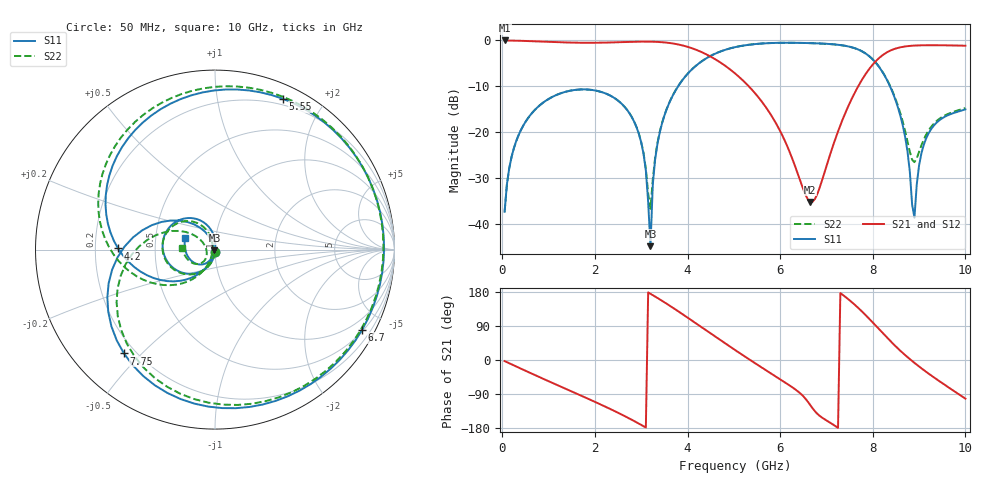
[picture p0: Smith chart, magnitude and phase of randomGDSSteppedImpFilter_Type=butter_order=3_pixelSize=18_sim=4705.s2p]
! freq	dB(S11)	phase(S11)	dB(S12)	phase(S12)
!  dB(S21)	phase(S21)	dB(S22)	phase(S22)
!S-par simulation data
#  GHz  S  DB  R 50
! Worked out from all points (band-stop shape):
!   200 points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, 50 MHz to 10 GHz, reference 50 ohm
!   highest |S21| = 0.00 dB at 50 MHz (marker M1); lowest = -35.1 dB at 6.65 GHz (marker M2)
!   |S21| within 3 dB of the highest: start of sweep to 4.402 GHz; 8.241 GHz to end of sweep
!   lowest |S11| = -44.7 dB at 3.2 GHz (marker M3), VSWR 1.01, Z = 49.7 - j0.493 ohm
!   |S11| at or under -10 dB: start of sweep to 3.795 GHz; 8.373 GHz to end of sweep
!   |S22| runs from -37.3 to -0.5 dB; largest |S21 - S12| = 0
!   S11 on the Smith chart (normalised r, x): 50 MHz: 1.00, -0.03; 4.2 GHz: 0.30, +0.01; 5.55 GHz: 0.14, +1.54; 6.7 GHz: 0.55, -3.85; 7.75 GHz: 0.16, -0.44; 10 GHz: 0.71, +0.09
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0.05  -37.26 -92.7  -0.00 -2.9  -0.00 -2.9  -37.26 -92.6
0.2  -25.33 -101.8  -0.03 -11.4  -0.03 -11.4  -25.33 -101.4
0.5  -17.72 -119.3  -0.11 -28.4  -0.11 -28.4  -17.72 -118.4
1.75  -10.64 170.9  -0.51 -96.7  -0.51 -96.7  -10.64 174.7
2.85  -17.72 105.0  -0.29 -161.2  -0.29 -161.2  -17.70 115.2
3.1  -28.30 87.8  -0.26 -178.1  -0.26 -178.1  -27.91 112.3
3.2  -44.74 -121.2  -0.27 174.8  -0.27 174.8  -36.60 -164.4
3.25  -31.33 -103.2  -0.28 171.1  -0.28 171.1  -30.21 -124.2
3.4  -20.00 -114.5  -0.35 160.0  -0.35 160.0  -19.87 -116.1
4.2  -5.35 179.3  -2.09 95.1  -2.09 95.1  -5.34 -173.3
5.05  -1.41 107.0  -7.38 24.3  -7.38 24.3  -1.41 117.9
5.55  -0.71 65.7  -12.60 -15.8  -12.60 -15.8  -0.71 78.1
6.15  -0.51 16.8  -22.93 -62.8  -22.93 -62.8  -0.51 29.9
6.65  -0.58 -24.4  -35.12 -118.9  -35.12 -118.9  -0.59 -11.8
6.7  -0.60 -28.6  -35.10 -127.4  -35.10 -127.4  -0.60 -16.1
7.3  -1.00 -82.5  -18.44 176.5  -18.44 176.5  -1.01 -71.5
7.75  -2.28 -131.2  -8.83 130.0  -8.83 130.0  -2.28 -120.9
8.35  -9.49 152.6  -2.35 53.6  -2.35 53.6  -9.37 166.4
8.7  -21.05 115.6  -1.31 12.8  -1.31 12.8  -19.76 145.6
8.9  -38.53 -146.4  -1.12 -7.6  -1.12 -7.6  -26.47 -167.5
9.2  -20.30 -125.3  -1.04 -35.4  -1.04 -35.4  -19.66 -134.9
10  -14.99 159.6  -1.15 -101.9  -1.15 -101.9  -14.71 177.4
